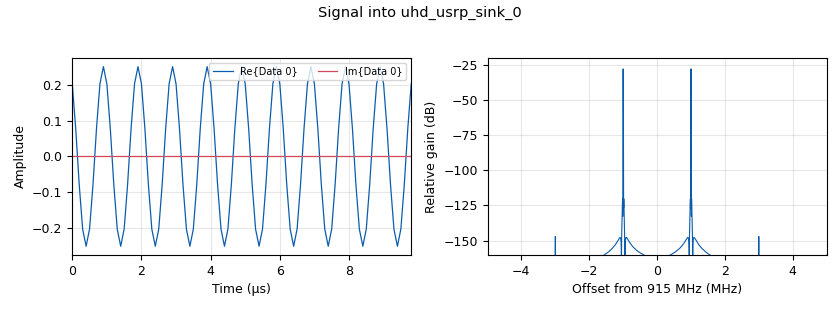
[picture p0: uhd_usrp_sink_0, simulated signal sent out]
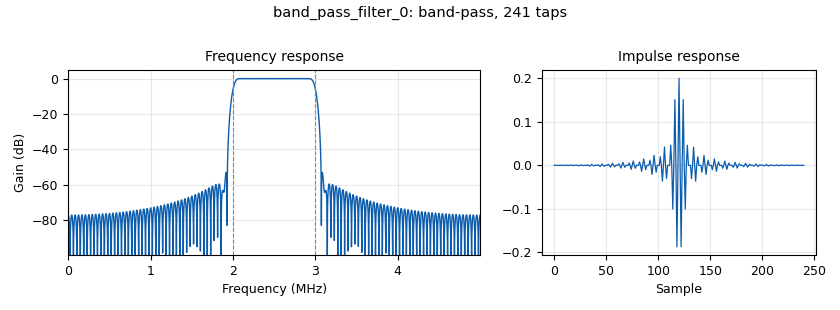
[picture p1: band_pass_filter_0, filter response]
options:
  parameters:
    author: ucanlab
    generate_options: qt_gui
    id: GNURadio_Basics
    output_language: python
    title: 'GR Tutorial: Basics'
  states: {}

blocks:
- name: fc_rx
  id: variable_qtgui_range
  parameters:
    label: Center Frequency - Rx
    orient: Qt.Horizontal
    start: '910000000'
    step: '1000000'
    stop: '920000000'
    value: '915000000'
  states: {}
- name: fc_tx
  id: variable_qtgui_range
  parameters:
    label: Center Frequency - Tx
    orient: Qt.Horizontal
    start: '910000000'
    step: '1000000'
    stop: '920000000'
    value: '915000000'
  states: {}
- name: hcf
  id: variable_qtgui_range
  parameters:
    label: High Cut Filter
    orient: Qt.Horizontal
    start: '0'
    step: 1e6
    stop: samp_rate/2
    value: 3e6
  states: {}
- name: lcf
  id: variable_qtgui_range
  parameters:
    label: Low Cut Filter
    orient: Qt.Horizontal
    start: '0'
    step: 1e6
    stop: samp_rate/2
    value: 2e6
  states: {}
- name: samp_rate
  id: variable
  parameters:
    value: '10000000'
  states: {}
- name: sig_freq
  id: variable_qtgui_range
  parameters:
    label: Signal Frequency
    orient: Qt.Horizontal
    start: '1000000'
    step: '500000'
    stop: '5000000'
    value: '1000000'
  states: {}
- name: analog_const_source_x_0_0
  id: analog_const_source_x
  parameters:
    const: '0'
    type: float
  states: {}
- name: analog_sig_source_x_1_0
  id: analog_sig_source_x
  parameters:
    amp: '0.25'
    freq: sig_freq
    offset: '0'
    phase: '0'
    samp_rate: samp_rate
    type: float
    waveform: analog.GR_COS_WAVE
  states: {}
- name: band_pass_filter_0
  id: band_pass_filter
  parameters:
    decim: '1'
    gain: '1'
    high_cutoff_freq: hcf
    low_cutoff_freq: lcf
    samp_rate: samp_rate
    type: fir_filter_ccf
    width: 1e5
    win: firdes.WIN_HAMMING
  states: {}
- name: blocks_float_to_complex_0_0
  id: blocks_float_to_complex
  parameters: {}
  states: {}
- name: note_1_0
  id: note
  parameters:
    note: Real Sinusoid
  states: {}
- name: note_1_0_0
  id: note
  parameters:
    note: Receiver
  states: {}
- name: note_1_0_1
  id: note
  parameters:
    note: Transmitter
  states: {}
- name: qtgui_sink_x_0
  id: qtgui_sink_x
  parameters:
    bw: samp_rate
    fc: fc_rx
    fftsize: '1024'
    plotconst: 'False'
    showrf: 'True'
    type: complex
    wintype: firdes.WIN_BLACKMAN_hARRIS
  states: {}
- name: uhd_usrp_sink_0
  id: uhd_usrp_sink
  parameters:
    ant0: TX/RX
    center_freq0: fc_tx
    dev_addr: '"serial=3279417"'
    dev_args: '""'
    gain0: '35'
    len_tag_name: ''
    norm_gain0: 'False'
    samp_rate: samp_rate
    sync: none
    type: fc32
  states: {}
- name: uhd_usrp_source_0
  id: uhd_usrp_source
  parameters:
    ant0: RX2
    center_freq0: fc_rx
    dc_offs_enb0: '""'
    dev_addr: '"serial=3279500"'
    dev_args: '""'
    gain0: '40'
    iq_imbal_enb0: '""'
    norm_gain0: 'False'
    samp_rate: samp_rate
    sync: none
    type: fc32
  states: {}
- name: virtual_sink_0_0_0
  id: virtual_sink
  parameters:
    stream_id: TxSignal
  states: {}
- name: virtual_source_0
  id: virtual_source
  parameters:
    stream_id: TxSignal
  states: {}

connections:
- [analog_const_source_x_0_0, '0', blocks_float_to_complex_0_0, '1']
- [analog_sig_source_x_1_0, '0', blocks_float_to_complex_0_0, '0']
- [band_pass_filter_0, '0', qtgui_sink_x_0, '0']
- [blocks_float_to_complex_0_0, '0', virtual_sink_0_0_0, '0']
- [uhd_usrp_source_0, '0', band_pass_filter_0, '0']
- [virtual_source_0, '0', uhd_usrp_sink_0, '0']

metadata:
  file_format: 1
